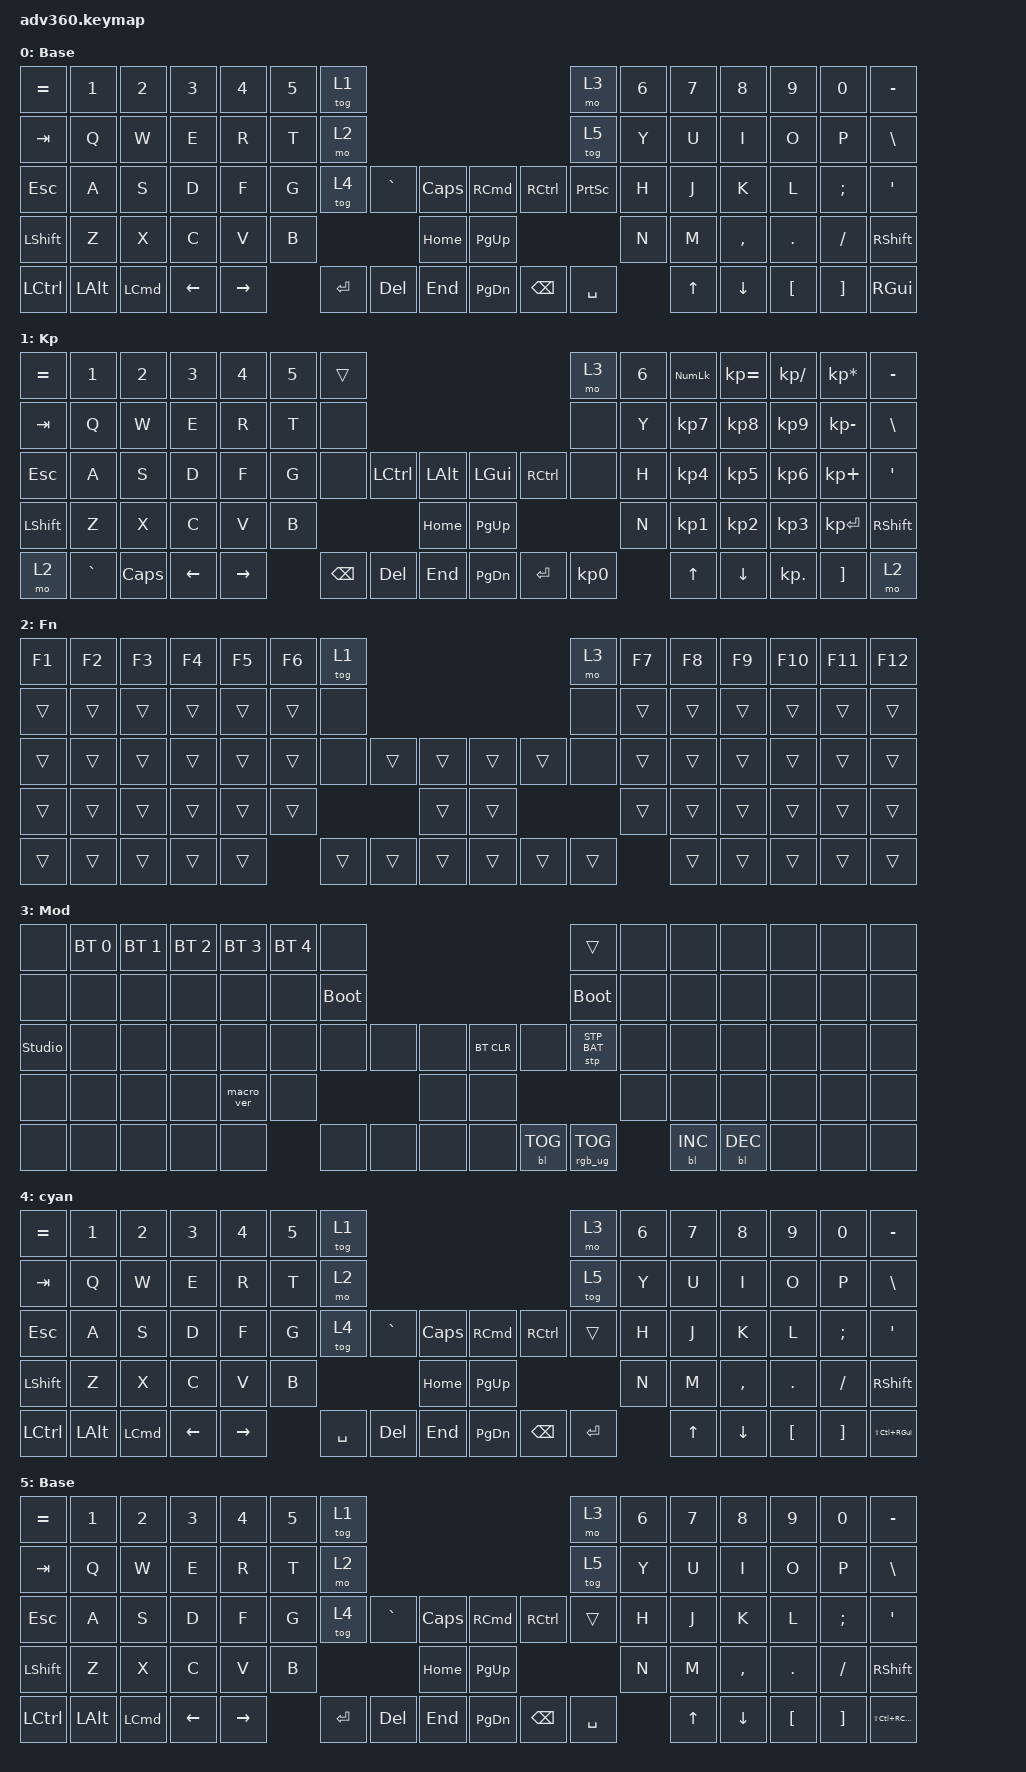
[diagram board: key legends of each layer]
#include <dt-bindings/zmk/stp.h>
#include <behaviors.dtsi>
#include <dt-bindings/zmk/backlight.h>
#include <dt-bindings/zmk/bt.h>
#include <dt-bindings/zmk/keys.h>
#include <dt-bindings/zmk/rgb.h>

/ {
    behaviors {
        #include "macros.dtsi"
      #include "version.dtsi"

        hm: homerow_mods {
            compatible = "zmk,behavior-hold-tap";
            label = "HOMEROW_MODS";
            #binding-cells = <2>;
            tapping-term-ms = <200>;
            quick_tap_ms = <175>;
            flavor = "tap-preferred";
            bindings = <&kp>, <&kp>;
        };
    };

    keymap {
        compatible = "zmk,keymap";

        default_layer {
            display-name = "Base";
            bindings = <
&kp EQUAL  &kp N1        &kp N2            &kp N3    &kp N4     &kp N5  &tog 1                                                                 &mo 3            &kp N6  &kp N7  &kp N8     &kp N9    &kp N0    &kp MINUS
&kp TAB    &kp Q         &kp W             &kp E     &kp R      &kp T   &mo 2                                                                  &tog 5           &kp Y   &kp U   &kp I      &kp O     &kp P     &kp BSLH
&kp ESC    &kp A         &kp S             &kp D     &kp F      &kp G   &tog 4      &kp GRAVE  &kp CAPS      &kp RIGHT_COMMAND  &kp RCTRL      &kp PRINTSCREEN  &kp H   &kp J   &kp K      &kp L     &kp SEMI  &kp SQT
&kp LSHFT  &kp Z         &kp X             &kp C     &kp V      &kp B                          &kp HOME      &kp PG_UP                                          &kp N   &kp M   &kp COMMA  &kp DOT   &kp FSLH  &kp RSHFT
&kp LCTRL  &kp LEFT_ALT  &kp LEFT_COMMAND  &kp LEFT  &kp RIGHT          &kp RETURN  &kp DEL    &kp END       &kp PG_DN          &kp BACKSPACE  &kp SPACE                &kp UP  &kp DOWN   &kp LBKT  &kp RBKT  &kp RIGHT_GUI
            >;
        };

        keypad {
            display-name = "Kp";
            bindings = <
&kp EQUAL  &kp N1     &kp N2    &kp N3    &kp N4     &kp N5  &trans                                                   &mo 3      &kp N6  &kp KP_NUM  &kp KP_EQUAL  &kp KP_DIVIDE  &kp KP_MULTIPLY  &kp MINUS
&kp TAB    &kp Q      &kp W     &kp E     &kp R      &kp T   &none                                                    &none      &kp Y   &kp KP_N7   &kp KP_N8     &kp KP_N9      &kp KP_MINUS     &kp BSLH
&kp ESC    &kp A      &kp S     &kp D     &kp F      &kp G   &none     &kp LCTRL  &kp LALT      &kp LGUI   &kp RCTRL  &none      &kp H   &kp KP_N4   &kp KP_N5     &kp KP_N6      &kp KP_PLUS      &kp SQT
&kp LSHFT  &kp Z      &kp X     &kp C     &kp V      &kp B                        &kp HOME      &kp PG_UP                        &kp N   &kp KP_N1   &kp KP_N2     &kp KP_N3      &kp KP_ENTER     &kp RSHFT
&mo 2      &kp GRAVE  &kp CAPS  &kp LEFT  &kp RIGHT          &kp BSPC  &kp DEL    &kp END       &kp PG_DN  &kp ENTER  &kp KP_N0          &kp UP      &kp DOWN      &kp KP_DOT     &kp RBKT         &mo 2
            >;
        };

        fn {
            display-name = "Fn";
            bindings = <
&kp F1  &kp F2  &kp F3  &kp F4  &kp F5  &kp F6  &tog 1                                      &mo 3   &kp F7  &kp F8  &kp F9  &kp F10  &kp F11  &kp F12
&trans  &trans  &trans  &trans  &trans  &trans  &none                                       &none   &trans  &trans  &trans  &trans   &trans   &trans
&trans  &trans  &trans  &trans  &trans  &trans  &none   &trans  &trans      &trans  &trans  &none   &trans  &trans  &trans  &trans   &trans   &trans
&trans  &trans  &trans  &trans  &trans  &trans                  &trans      &trans                  &trans  &trans  &trans  &trans   &trans   &trans
&trans  &trans  &trans  &trans  &trans          &trans  &trans  &trans      &trans  &trans  &trans          &trans  &trans  &trans   &trans   &trans
            >;
        };

        mod {
            display-name = "Mod";
            bindings = <
&none           &bt BT_SEL 0  &bt BT_SEL 1  &bt BT_SEL 2  &bt BT_SEL 3  &bt BT_SEL 4  &none                                                  &trans           &none  &none       &none       &none  &none  &none
&none           &none         &none         &none         &none         &none         &bootloader                                            &bootloader      &none  &none       &none       &none  &none  &none
&studio_unlock  &none         &none         &none         &none         &none         &none        &none  &none      &bt BT_CLR  &none       &stp STP_BAT     &none  &none       &none       &none  &none  &none
&none           &none         &none         &none         &macro_ver    &none                             &none      &none                                    &none  &none       &none       &none  &none  &none
&none           &none         &none         &none         &none                       &none        &none  &none      &none       &bl BL_TOG  &rgb_ug RGB_TOG         &bl BL_INC  &bl BL_DEC  &none  &none  &none
            >;
        };

        extra_1 {
            display-name = "cyan";
            bindings = <
&kp EQUAL  &kp N1        &kp N2            &kp N3    &kp N4     &kp N5  &tog 1                                                                &mo 3      &kp N6  &kp N7  &kp N8     &kp N9    &kp N0    &kp MINUS
&kp TAB    &kp Q         &kp W             &kp E     &kp R      &kp T   &mo 2                                                                 &tog 5     &kp Y   &kp U   &kp I      &kp O     &kp P     &kp BSLH
&kp ESC    &kp A         &kp S             &kp D     &kp F      &kp G   &tog 4     &kp GRAVE  &kp CAPS      &kp RIGHT_COMMAND  &kp RCTRL      &trans     &kp H   &kp J   &kp K      &kp L     &kp SEMI  &kp SQT
&kp LSHFT  &kp Z         &kp X             &kp C     &kp V      &kp B                         &kp HOME      &kp PG_UP                                    &kp N   &kp M   &kp COMMA  &kp DOT   &kp FSLH  &kp RSHFT
&kp LCTRL  &kp LEFT_ALT  &kp LEFT_COMMAND  &kp LEFT  &kp RIGHT          &kp SPACE  &kp DEL    &kp END       &kp PG_DN          &kp BACKSPACE  &kp ENTER          &kp UP  &kp DOWN   &kp LBKT  &kp RBKT  &kp LS(LC(RIGHT_GUI))
            >;
        };

        layer_5 {
            display-name = "Base";
            bindings = <
&kp EQUAL  &kp N1        &kp N2            &kp N3    &kp N4     &kp N5  &tog 1                                                                 &mo 3      &kp N6  &kp N7  &kp N8     &kp N9    &kp N0    &kp MINUS
&kp TAB    &kp Q         &kp W             &kp E     &kp R      &kp T   &mo 2                                                                  &tog 5     &kp Y   &kp U   &kp I      &kp O     &kp P     &kp BSLH
&kp ESC    &kp A         &kp S             &kp D     &kp F      &kp G   &tog 4      &kp GRAVE  &kp CAPS      &kp RIGHT_COMMAND  &kp RCTRL      &trans     &kp H   &kp J   &kp K      &kp L     &kp SEMI  &kp SQT
&kp LSHFT  &kp Z         &kp X             &kp C     &kp V      &kp B                          &kp HOME      &kp PG_UP                                    &kp N   &kp M   &kp COMMA  &kp DOT   &kp FSLH  &kp RSHFT
&kp LCTRL  &kp LEFT_ALT  &kp LEFT_COMMAND  &kp LEFT  &kp RIGHT          &kp RETURN  &kp DEL    &kp END       &kp PG_DN          &kp BACKSPACE  &kp SPACE          &kp UP  &kp DOWN   &kp LBKT  &kp RBKT  &kp LS(LC(RIGHT_COMMAND))
            >;
        };
    };
};
